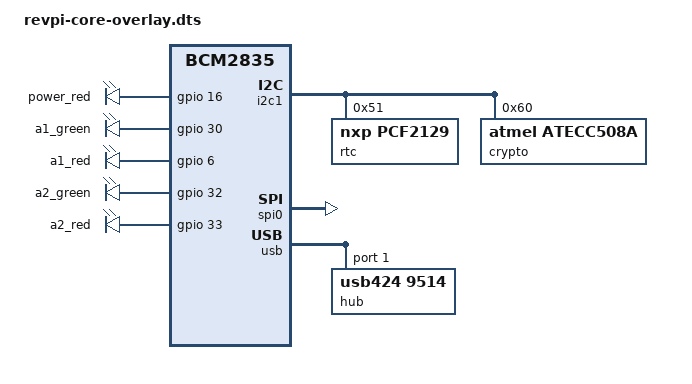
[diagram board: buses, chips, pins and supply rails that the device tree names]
/*
 * Device tree overlay for Revolution Pi by KUNBUS
 *
 * RevPi Core
 * RevPi Core 3
 */

/dts-v1/;
/plugin/;
#include <dt-bindings/gpio/gpio.h>
#include <dt-bindings/pinctrl/bcm2835.h>

/{
	compatible = "brcm,bcm2835", "brcm,bcm2837";

	fragment@0 {
		target-path = "/";
		__overlay__ {
			compatible = "brcm,bcm2837", "brcm,bcm2836",
				     "brcm,bcm2835", "kunbus,revpi-core";

			leds {
				compatible = "gpio-leds";
				power_red {
					gpios = <&gpio 16 GPIO_ACTIVE_HIGH>;
					linux,default-trigger = "power_red";
				};
				a1_green {
					gpios = <&gpio 30 GPIO_ACTIVE_HIGH>;
					linux,default-trigger = "a1_green";
				};
				a1_red {
					gpios = <&gpio  6 GPIO_ACTIVE_HIGH>;
					linux,default-trigger = "a1_red";
				};
				a2_green {
					gpios = <&gpio 32 GPIO_ACTIVE_HIGH>;
					linux,default-trigger = "a2_green";
				};
				a2_red {
					gpios = <&gpio 33 GPIO_ACTIVE_HIGH>;
					linux,default-trigger = "a2_red";
				};
				act {
					status = "disabled";
				};
			};
		};
	};

	fragment@1 {
		target = <&gpio>;
		__overlay__ {
			spi0_pins {
				/* miso mosi clock */
				brcm,pins     = <37 38 39>;
				brcm,function = <BCM2835_FSEL_ALT0>;
				brcm,pull     = <BCM2835_PUD_OFF>;
			};
			spi0_cs_pins {
				/*
				 * These are dummy pins because piControl
				 * toggles Chip Enable independently from
				 * the SPI master driver.
				 *
				 * The real pins are 36 and 35.
				 */
				brcm,pins     = <3 4>;
				brcm,function = <BCM2835_FSEL_GPIO_OUT>;
				brcm,pull     = <BCM2835_PUD_OFF>;
			};
			i2c1 {
				/* sda scl */
				brcm,pins     = <44 45>;
				brcm,function = <BCM2835_FSEL_ALT2>;
				brcm,pull     = <BCM2835_PUD_OFF>;
			};
		};
	};

	fragment@2 {
		target = <&i2c1>;
		__overlay__ {
			#address-cells = <1>;
			#size-cells = <0>;
			status = "okay";

			rtc@51 {
				compatible = "nxp,pcf2129";
				reg = <0x51>;
				status = "okay";
			};

			crypto@60 {
				compatible = "atmel,atecc508a";
				reg = <0x60>;
				status = "okay";
			};
		};
	};

	fragment@3 {
		target = <&spi0>;
		__overlay__ {
			/*
			 * These are dummy pins because piControl
			 * toggles Chip Enable independently from
			 * the SPI master driver.
			 *
			 * The real pins are 36 and 35.
			 *
			 * Both slaves are marked disabled because they
			 * are driven by piControl instead of ks8851.c.
			 */
			cs-gpios = <&gpio 3 GPIO_ACTIVE_LOW>,
				   <&gpio 4 GPIO_ACTIVE_LOW>;
			#address-cells = <1>;
			#size-cells = <0>;
			status = "okay";

			ethernet@0 {
				/* PiBridge Ethernet left */
				compatible = "micrel,ks8851";
				reg = <0>;
				spi-max-frequency = <20000000>;	/* <= 40 MHz */
				interrupts = <0x80000000>;  /* not connected */
				status = "disabled";
			};

			ethernet@1 {
				/* PiBridge Ethernet right */
				compatible = "micrel,ks8851";
				reg = <1>;
				spi-max-frequency = <20000000>;	/* <= 40 MHz */
				interrupts = <0x80000000>;  /* not connected */
				status = "disabled";
			};

			spidev@0 {
				status = "disabled";
			};

			spidev@1 {
				status = "disabled";
			};
		};
	};

	fragment@4 {
		target = <&usb>;
		__overlay__ {
			#address-cells = <1>;
			#size-cells = <0>;

			hub@1 {
				compatible = "usb424,9514"; /* SMSC LAN9514 */
				reg = <1>;
				#address-cells = <1>;
				#size-cells = <0>;

				eth0: ethernet@1 {
					compatible = "usb424,ec00";
					reg = <1>;
				};
			};
		};
	};

	__overrides__ {
		eth0_mac_hi = <&eth0>,"local-mac-address:0";
		eth0_mac_lo = <&eth0>,"local-mac-address;4";
	};
};
